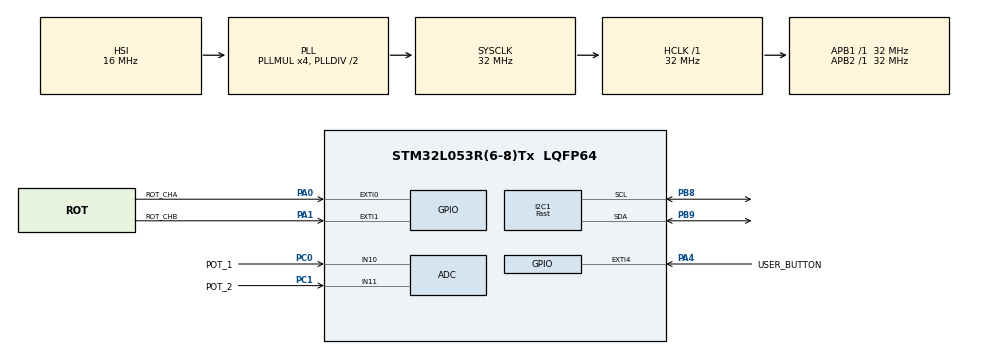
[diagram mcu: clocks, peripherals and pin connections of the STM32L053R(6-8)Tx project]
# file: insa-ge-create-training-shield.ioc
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I2C1.I2C_Speed_Mode=I2C_Fast
I2C1.Timing=0x0060112F
Mcu.Family=STM32L0
Mcu.Name=STM32L053R(6-8)Tx
Mcu.Package=LQFP64
NVIC.EXTI0_1_IRQn=true\:1\:0\:true\:false\:true\:true\:true\:true
NVIC.EXTI4_15_IRQn=true\:2\:0\:true\:false\:true\:true\:true\:true
NVIC.TIM6_DAC_IRQn=true\:3\:0\:true\:false\:true\:true\:true\:true
PA0.GPIO_Label=ROT_CHA
PA0.GPIO_ModeDefaultEXTI=GPIO_MODE_IT_RISING_FALLING
PA0.Signal=GPXTI0
PA1.GPIO_Label=ROT_CHB
PA1.Signal=GPXTI1
PA4.GPIO_Label=USER_BUTTON
PA4.GPIO_ModeDefaultEXTI=GPIO_MODE_IT_RISING_FALLING
PA4.Signal=GPXTI4
PB8.Mode=I2C
PB8.Signal=I2C1_SCL
PB9.Mode=I2C
PB9.Signal=I2C1_SDA
PC0.GPIO_Label=POT_1
PC0.Mode=IN10
PC0.Signal=ADC_IN10
PC1.GPIO_Label=POT_2
PC1.Mode=IN11
PC1.Signal=ADC_IN11
ProjectManager.HeapSize=0x200
ProjectManager.StackSize=0x400
ProjectManager.TargetToolchain=STM32CubeIDE
RCC.AHBFreq_Value=32000000
RCC.APB1Freq_Value=32000000
RCC.APB1TimFreq_Value=32000000
RCC.APB2Freq_Value=32000000
RCC.APB2TimFreq_Value=32000000
RCC.HCLKFreq_Value=32000000
RCC.HSE_VALUE=8000000
RCC.HSI16_VALUE=16000000
RCC.HSI48_VALUE=48000000
RCC.HSI_VALUE=16000000
RCC.LSE_VALUE=32768
RCC.MSI_VALUE=2097000
RCC.PLLMUL=RCC_PLLMUL_4
RCC.SYSCLKFreq_VALUE=32000000
RCC.SYSCLKSource=RCC_SYSCLKSOURCE_PLLCLK
RCC.VCOOutputFreq_Value=64000000
TIM6.Period=999
TIM6.Prescaler=2096
VP_TIM6_VS_ClockSourceINT.Mode=Enable_Timer
board=custom

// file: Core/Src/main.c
/* USER CODE BEGIN Header */
/**
  ******************************************************************************
  * @file           : main.c
  * @brief          : Main program body
  ******************************************************************************
  * @attention
  *
  * Copyright (c) 2024 STMicroelectronics.
  * All rights reserved.
  *
  * This software is licensed under terms that can be found in the LICENSE file
  * in the root directory of this software component.
  * If no LICENSE file comes with this software, it is provided AS-IS.
  *
  ******************************************************************************
  */
/* USER CODE END Header */
#include "main.h"

/* USER CODE BEGIN Includes */
#include <stdio.h>
#include "ssd1306/ssd1306.h"

/* USER CODE END Includes */

ADC_HandleTypeDef hadc;

I2C_HandleTypeDef hi2c1;

TIM_HandleTypeDef htim6;

/* USER CODE BEGIN PV */
static uint8_t rotary_state;
static uint8_t rotary_counter;
static uint8_t button_state;

// Power meter simulation variables
static float simulated_voltage = 0.0f;    // Simulated voltage (V)
static float simulated_current = 0.0f;    // Simulated current (A)
static float simulated_power = 0.0f;      // Calculated power (W)
static float accumulated_energy = 0.0f;   // Accumulated energy (Wh)
static uint32_t last_timestamp = 0;       // For energy integration

// Peak value tracking
static float peak_voltage = 0.0f;
static float peak_current = 0.0f;
static float peak_power = 0.0f;

// Button handling for reset functions
static uint32_t button_press_time = 0;
static uint8_t button_long_press_handled = 0;
static uint32_t button_last_interrupt_time = 0;  // For debouncing
static uint8_t button_stable_state = 0;          // Stable button state after debouncing

// Menu system variables
typedef enum {
    MENU_POWER_METER = 0,    // Main power meter display
    MENU_MAIN,               // Main menu
    MENU_PEAKS,              // Peak values display
    MENU_GRAPHICS,           // Graphics display menu
    MENU_GRAPHICS_SELECT,    // Graphics parameter selection
    MENU_SETTINGS,           // Settings menu
    MENU_RESET,              // Reset menu
    MENU_ABOUT               // About/Info
} MenuState_t;

static MenuState_t current_menu = MENU_POWER_METER;
static uint8_t menu_selection = 0;      // Current menu item selection
static uint8_t menu_changed = 1;        // Flag to trigger display update
static uint32_t last_activity_time = 0; // For auto-return to power meter

// Rotary encoder debouncing variables
static uint32_t rotary_last_interrupt_time = 0;

// Graphics functionality variables
#define GRAPH_DATA_POINTS 64  // Number of data points for graph (64 points across 128 pixel width)
static float voltage_history[GRAPH_DATA_POINTS];
static float current_history[GRAPH_DATA_POINTS];
static float power_history[GRAPH_DATA_POINTS];
static uint8_t graph_data_index = 0;
static uint8_t graphics_parameter = 0;  // 0 = Voltage, 1 = Current, 2 = Power
static uint32_t last_graph_update = 0;

/* USER CODE END PV */

void SystemClock_Config(void);
static void MX_GPIO_Init(void);
static void MX_ADC_Init(void);
static void MX_I2C1_Init(void);
static void MX_TIM6_Init(void);

/* USER CODE BEGIN 0 */

/**
  * @brief  Convert ADC value to simulated voltage
  * @param  adc_value Raw ADC value (0-4095)
  * @retval Simulated voltage in volts (0-30V)
  */
float Convert_ADC_to_Voltage(uint32_t adc_value)
{
    // POT_1 (ADC_CHANNEL_10): 0-4095 → 0-30V
    return (float)adc_value * 30.0f / 4095.0f;
}

/**
  * @brief  Convert ADC value to simulated current
  * @param  adc_value Raw ADC value (0-4095)
  * @retval Simulated current in amperes (0-5A)
  */
float Convert_ADC_to_Current(uint32_t adc_value)
{
    // POT_2 (ADC_CHANNEL_11): 0-4095 → 0-5A
    return (float)adc_value * 5.0f / 4095.0f;
}

/**
  * @brief  Calculate simulated power from voltage and current
  * @param  voltage Simulated voltage in volts
  * @param  current Simulated current in amperes
  * @retval Calculated power in watts
  */
float Calculate_Power(float voltage, float current)
{
    return voltage * current;
}

/**
  * @brief  Update accumulated energy using trapezoidal integration
  * @param  power Current power in watts
  * @param  delta_time Time interval in milliseconds
  */
void Update_Energy(float power, uint32_t delta_time)
{
    // Convert delta_time from ms to hours for Wh calculation
    float delta_hours = (float)delta_time / (1000.0f * 3600.0f);

    // Simple rectangular integration: E += P * dt
    accumulated_energy += power * delta_hours;
}

/**
  * @brief  Update peak values if current values are higher
  * @param  voltage Current voltage value
  * @param  current Current current value
  * @param  power Current power value
  */
void Update_Peaks(float voltage, float current, float power)
{
    if (voltage > peak_voltage) peak_voltage = voltage;
    if (current > peak_current) peak_current = current;
    if (power > peak_power) peak_power = power;
}

/**
  * @brief  Reset all peak values to zero
  */
void Reset_Peaks(void)
{
    peak_voltage = 0.0f;
    peak_current = 0.0f;
    peak_power = 0.0f;
}

/**
  * @brief  Reset accumulated energy to zero
  */
void Reset_Energy(void)
{
    accumulated_energy = 0.0f;
}

/**
  * @brief  Handle rotary encoder input for menu navigation
  * @param  direction: 1 for clockwise, -1 for counter-clockwise
  */
void Handle_Menu_Navigation(int8_t direction)
{
    last_activity_time = HAL_GetTick();
    menu_changed = 1;

    switch (current_menu) {
        case MENU_MAIN:
            // Navigate main menu items
            if (direction > 0) {
                menu_selection = (menu_selection + 1) % 5; // 5 main menu items
            } else {
                menu_selection = (menu_selection == 0) ? 4 : menu_selection - 1;
            }
            break;

        case MENU_GRAPHICS_SELECT:
            // Navigate graphics parameter selection
            if (direction > 0) {
                menu_selection = (menu_selection + 1) % 4; // 4 graphics items (V, A, P, Back)
            } else {
                menu_selection = (menu_selection == 0) ? 3 : menu_selection - 1;
            }
            break;

        case MENU_SETTINGS:
            // Navigate settings menu items
            if (direction > 0) {
                menu_selection = (menu_selection + 1) % 2; // 2 settings items
            } else {
                menu_selection = (menu_selection == 0) ? 1 : menu_selection - 1;
            }
            break;

        case MENU_RESET:
            // Navigate reset menu items
            if (direction > 0) {
                menu_selection = (menu_selection + 1) % 3; // 3 reset items
            } else {
                menu_selection = (menu_selection == 0) ? 2 : menu_selection - 1;
            }
            break;

        default:
            // Other menus don't have navigation
            break;
    }
}

/**
  * @brief  Handle button press for menu actions
  * @param  press_type: 0 = short press, 1 = long press
  */
void Handle_Menu_Action(uint8_t press_type)
{
    last_activity_time = HAL_GetTick();
    menu_changed = 1;

    if (press_type == 1) { // Long press - always go back/up
        switch (current_menu) {
            case MENU_POWER_METER:
                current_menu = MENU_MAIN;
                menu_selection = 0;
                break;

            default:
                current_menu = MENU_POWER_METER;
                menu_selection = 0;
                break;
        }
    } else { // Short press - enter/confirm
        switch (current_menu) {
            case MENU_POWER_METER:
                // No action on short press in power meter mode
                break;

            case MENU_MAIN:
                switch (menu_selection) {
                    case 0: current_menu = MENU_POWER_METER; break;  // Back to Power Meter
                    case 1: current_menu = MENU_PEAKS; break;        // Peak Values
                    case 2: current_menu = MENU_GRAPHICS_SELECT; menu_selection = 0; break; // Graphics
                    case 3: current_menu = MENU_SETTINGS; menu_selection = 0; break; // Settings
                    case 4: current_menu = MENU_RESET; menu_selection = 0; break;    // Reset
                }
                break;

            case MENU_PEAKS:
                current_menu = MENU_MAIN;
                menu_selection = 1;
                break;

            case MENU_GRAPHICS_SELECT:
                switch (menu_selection) {
                    case 0: // Voltage graph
                        graphics_parameter = 0;
                        current_menu = MENU_GRAPHICS;
                        break;
                    case 1: // Current graph
                        graphics_parameter = 1;
                        current_menu = MENU_GRAPHICS;
                        break;
                    case 2: // Power graph
                        graphics_parameter = 2;
                        current_menu = MENU_GRAPHICS;
                        break;
                    case 3: // Back
                        current_menu = MENU_MAIN;
                        menu_selection = 2;
                        break;
                }
                break;

            case MENU_GRAPHICS:
                current_menu = MENU_GRAPHICS_SELECT;
                menu_selection = graphics_parameter;
                break;

            case MENU_SETTINGS:
                switch (menu_selection) {
                    case 0: current_menu = MENU_ABOUT; break;      // About
                    case 1: current_menu = MENU_MAIN; menu_selection = 2; break; // Back
                }
                break;

            case MENU_RESET:
                switch (menu_selection) {
                    case 0: Reset_Peaks(); current_menu = MENU_MAIN; menu_selection = 3; break;   // Reset Peaks
                    case 1: Reset_Energy(); current_menu = MENU_MAIN; menu_selection = 3; break;  // Reset Energy
                    case 2: current_menu = MENU_MAIN; menu_selection = 3; break;                  // Cancel
                }
                break;

            case MENU_ABOUT:
                current_menu = MENU_SETTINGS;
                menu_selection = 0;
                break;
        }
    }
}

/**
  * @brief  Display current menu on OLED
  */
void Display_Current_Menu(void)
{
    char line1[21] = {0};
    char line2[21] = {0};
    char line3[21] = {0};

    // Clear screen
    ssd1306_Fill(Black);

    switch (current_menu) {
        case MENU_POWER_METER:
            Display_Power_Meter();
            return; // Power meter has its own display logic

        case MENU_MAIN:
            {
                // Main menu items (total 5 items: 0-4)
                const char* menu_items[5] = {
                    " Power Meter",
                    " Peak Values",
                    " Graphics",
                    " Settings",
                    " Reset Options"
                };

                ssd1306_SetCursor(0, 0);
                ssd1306_WriteString("=== MAIN MENU ===", Font_6x8, White);

                // Calculate scroll window (show 3 items at a time)
                uint8_t start_item = 0;
                if (menu_selection >= 2) {
                    start_item = menu_selection - 1;  // Keep selected item in middle when possible
                    if (start_item > 2) start_item = 2;  // Don't scroll beyond last window (5-3=2)
                }

                // Display 3 visible items
                for (uint8_t i = 0; i < 3 && (start_item + i) < 5; i++) {
                    uint8_t item_index = start_item + i;
                    char display_line[21];

                    // Add selection marker
                    sprintf(display_line, "%s%s",
                           (item_index == menu_selection) ? ">" : " ",
                           menu_items[item_index]);

                    ssd1306_SetCursor(0, 8 + (i * 8));  // Y positions: 8, 16, 24
                    ssd1306_WriteString(display_line, Font_6x8, White);
                }

                // Optional: Add scroll indicators
                if (start_item > 0) {
                    // Show "up arrow" indicator at top-right
                    ssd1306_SetCursor(120, 8);
                    ssd1306_WriteString("^", Font_6x8, White);
                }
                if (start_item + 3 < 5) {
                    // Show "down arrow" indicator at bottom-right
                    ssd1306_SetCursor(120, 24);
                    ssd1306_WriteString("v", Font_6x8, White);
                }
            }
            break;

        case MENU_PEAKS:
            ssd1306_SetCursor(0, 0);
            ssd1306_WriteString("=== PEAK VALUES ===", Font_6x8, White);

            // Display peak values using integer formatting
            int pv_int = (int)peak_voltage;
            int pv_frac = (int)((peak_voltage - pv_int) * 10.0f);
            int pi_int = (int)peak_current;
            int pi_frac = (int)((peak_current - pi_int) * 100.0f);
            int pp_int = (int)peak_power;
            int pp_frac = (int)((peak_power - pp_int) * 10.0f);

            sprintf(line1, "V: %d.%dV", pv_int, pv_frac);
            sprintf(line2, "I: %d.%02dA", pi_int, pi_frac);
            sprintf(line3, "P: %d.%dW", pp_int, pp_frac);

            ssd1306_SetCursor(0, 10);
            ssd1306_WriteString(line1, Font_7x10, White);
            ssd1306_SetCursor(0, 20);
            ssd1306_WriteString(line2, Font_7x10, White);
            ssd1306_SetCursor(70, 20);
            ssd1306_WriteString(line3, Font_7x10, White);
            break;

        case MENU_SETTINGS:
            ssd1306_SetCursor(0, 0);
            ssd1306_WriteString("=== SETTINGS ===", Font_6x8, White);

            sprintf(line1, "%s About", (menu_selection == 0) ? ">" : " ");
            sprintf(line2, "%s Back", (menu_selection == 1) ? ">" : " ");

            ssd1306_SetCursor(0, 12);
            ssd1306_WriteString(line1, Font_7x10, White);
            ssd1306_SetCursor(0, 22);
            ssd1306_WriteString(line2, Font_7x10, White);
            break;

        case MENU_RESET:
            ssd1306_SetCursor(0, 0);
            ssd1306_WriteString("=== RESET ===", Font_6x8, White);

            sprintf(line1, "%s Reset Peaks", (menu_selection == 0) ? ">" : " ");
            sprintf(line2, "%s Reset Energy", (menu_selection == 1) ? ">" : " ");
            sprintf(line3, "%s Cancel", (menu_selection == 2) ? ">" : " ");

            ssd1306_SetCursor(0, 8);
            ssd1306_WriteString(line1, Font_6x8, White);
            ssd1306_SetCursor(0, 16);
            ssd1306_WriteString(line2, Font_6x8, White);
            ssd1306_SetCursor(0, 24);
            ssd1306_WriteString(line3, Font_6x8, White);
            break;

        case MENU_GRAPHICS_SELECT:
            {
                // Graphics menu items (total 4 items: 0-3)
                const char* graphics_items[4] = {
                    " Voltage (V)",
                    " Current (A)",
                    " Power (W)",
                    " Back"
                };

                ssd1306_SetCursor(0, 0);
                ssd1306_WriteString("=== GRAPHICS ===", Font_6x8, White);

                // Calculate scroll window (show 3 items at a time)
                uint8_t start_item = 0;
                if (menu_selection >= 2) {
                    start_item = menu_selection - 1;  // Keep selected item in middle when possible
                    if (start_item > 1) start_item = 1;  // Don't scroll beyond last window (4-3=1)
                }

                // Display 3 visible items
                for (uint8_t i = 0; i < 3 && (start_item + i) < 4; i++) {
                    uint8_t item_index = start_item + i;
                    char display_line[21];

                    // Add selection marker
                    sprintf(display_line, "%s%s",
                           (item_index == menu_selection) ? ">" : " ",
                           graphics_items[item_index]);

                    ssd1306_SetCursor(0, 8 + (i * 8));  // Y positions: 8, 16, 24
                    ssd1306_WriteString(display_line, Font_6x8, White);
                }

                // Optional: Add scroll indicators
                if (start_item > 0) {
                    // Show "up arrow" indicator at top-right
                    ssd1306_SetCursor(120, 8);
                    ssd1306_WriteString("^", Font_6x8, White);
                }
                if (start_item + 3 < 4) {
                    // Show "down arrow" indicator at bottom-right
                    ssd1306_SetCursor(120, 24);
                    ssd1306_WriteString("v", Font_6x8, White);
                }
            }
            break;

        case MENU_GRAPHICS:
            Display_Graphics();
            return; // Graphics has its own display logic

        case MENU_ABOUT:
            ssd1306_SetCursor(0, 0);
            ssd1306_WriteString("Power Meter v1.0", Font_7x10, White);
            ssd1306_SetCursor(0, 12);
            ssd1306_WriteString("STM32L053R8", Font_6x8, White);
            ssd1306_SetCursor(0, 20);
            ssd1306_WriteString("Test Development", Font_6x8, White);
            ssd1306_SetCursor(0, 28);
            ssd1306_WriteString("Board - INSA-GE", Font_6x8, White);
            break;
    }

    ssd1306_UpdateScreen();
}

/**
  * @brief  Update graphics data buffer with current values
  */
void Update_Graphics_Data(void)
{
    uint32_t current_time = HAL_GetTick();

    // Update data every 200ms for smooth animation
    if (current_time - last_graph_update > 200) {
        voltage_history[graph_data_index] = simulated_voltage;
        current_history[graph_data_index] = simulated_current;
        power_history[graph_data_index] = simulated_power;

        graph_data_index = (graph_data_index + 1) % GRAPH_DATA_POINTS;
        last_graph_update = current_time;
    }
}

/**
  * @brief  Display graphics curve
  */
void Display_Graphics(void)
{
    char title_str[21] = {0};
    float max_value = 0.0f;
    float min_value = 0.0f;
    float* data_array;

    // Clear screen
    ssd1306_Fill(Black);

    // Select data source and find min/max for scaling
    if (graphics_parameter == 0) {
        // Voltage - use integer formatting
        int v_int = (int)simulated_voltage;
        int v_frac = (int)((simulated_voltage - v_int) * 10.0f);
        sprintf(title_str, "Voltage: %d.%dV", v_int, v_frac);
        data_array = voltage_history;
        max_value = 30.0f;  // Max voltage range
        min_value = 0.0f;
    } else if (graphics_parameter == 1) {
        // Current - use integer formatting
        int i_int = (int)simulated_current;
        int i_frac = (int)((simulated_current - i_int) * 100.0f);
        sprintf(title_str, "Current: %d.%02dA", i_int, i_frac);
        data_array = current_history;
        max_value = 5.0f;   // Max current range
        min_value = 0.0f;
    } else {
        // Power - use integer formatting
        int p_int = (int)simulated_power;
        int p_frac = (int)((simulated_power - p_int) * 10.0f);
        sprintf(title_str, "Power: %d.%dW", p_int, p_frac);
        data_array = power_history;
        max_value = 150.0f;  // Max power range (30V * 5A = 150W)
        min_value = 0.0f;
    }

    // Display title
    ssd1306_SetCursor(0, 0);
    ssd1306_WriteString(title_str, Font_6x8, White);

    // Draw graph area (leaving space for title and axis labels)
    uint8_t graph_height = 20;  // Graph height in pixels
    uint8_t graph_y_offset = 10; // Start Y position for graph

    // Draw axes
    // Y-axis
    for (uint8_t y = 0; y < graph_height; y++) {
        ssd1306_DrawPixel(10, graph_y_offset + y, White);
    }
    // X-axis
    for (uint8_t x = 0; x < 110; x++) {
        ssd1306_DrawPixel(10 + x, graph_y_offset + graph_height - 1, White);
    }

    // Plot data points
    for (uint8_t i = 0; i < GRAPH_DATA_POINTS - 1; i++) {
        uint8_t data_index = (graph_data_index + i) % GRAPH_DATA_POINTS;
        uint8_t next_index = (graph_data_index + i + 1) % GRAPH_DATA_POINTS;

        // Scale values to fit graph
        uint8_t y1 = graph_y_offset + graph_height - 1 -
                     (uint8_t)((data_array[data_index] / max_value) * (graph_height - 2));
        uint8_t y2 = graph_y_offset + graph_height - 1 -
                     (uint8_t)((data_array[next_index] / max_value) * (graph_height - 2));

        uint8_t x1 = 11 + (i * 110) / (GRAPH_DATA_POINTS - 1);
        uint8_t x2 = 11 + ((i + 1) * 110) / (GRAPH_DATA_POINTS - 1);

        // Draw line between points
        ssd1306_Line(x1, y1, x2, y2, White);
    }

    // Add scale labels
    ssd1306_SetCursor(0, graph_y_offset);
    if (graphics_parameter == 0) {
        ssd1306_WriteString("30", Font_6x8, White);  // Voltage
    } else if (graphics_parameter == 1) {
        ssd1306_WriteString("5", Font_6x8, White);   // Current
    } else {
        ssd1306_WriteString("150", Font_6x8, White); // Power
    }

    ssd1306_SetCursor(0, graph_y_offset + graph_height - 8);
    ssd1306_WriteString("0", Font_6x8, White);

    ssd1306_UpdateScreen();
}

/**
  * @brief  Display power meter data (separated from menu system)
  */
void Display_Power_Meter(void)
{
    char line1_str[21] = {0};
    char line2_str[21] = {0};
    char line3_str[21] = {0};

    // Convert float to integer parts for display (avoiding %f)
    // Voltage: XX.X format (1 decimal place)
    int v_int = (int)simulated_voltage;
    int v_frac = (int)((simulated_voltage - v_int) * 10.0f);
    if (v_frac < 0) v_frac = -v_frac;

    // Current: X.XX format (2 decimal places)
    int i_int = (int)simulated_current;
    int i_frac = (int)((simulated_current - i_int) * 100.0f);
    if (i_frac < 0) i_frac = -i_frac;

    // Power: XXX.X format (1 decimal place)
    int p_int = (int)simulated_power;
    int p_frac = (int)((simulated_power - p_int) * 10.0f);
    if (p_frac < 0) p_frac = -p_frac;

    // Energy handling
    if (accumulated_energy < 1.0f) {
        // Display in Wh for small values (integer Wh)
        int e_wh = (int)(accumulated_energy * 1000.0f);
        sprintf(line1_str, "V:%d.%dV  I:%d.%02dA", v_int, v_frac, i_int, i_frac);
        sprintf(line2_str, "P:%d.%dW E:%dWh", p_int, p_frac, e_wh);
    } else {
        // Display in kWh for larger values (X.XXX format)
        int e_int = (int)accumulated_energy;
        int e_frac = (int)((accumulated_energy - e_int) * 1000.0f);
        if (e_frac < 0) e_frac = -e_frac;
        sprintf(line1_str, "V:%d.%dV  I:%d.%02dA", v_int, v_frac, i_int, i_frac);
        sprintf(line2_str, "P:%d.%dW E:%d.%03dkWh", p_int, p_frac, e_int, e_frac);
    }

    sprintf(line3_str, "ROT:%03u BTN:%s", rotary_counter, button_state ? "ON " : "OFF");

    // Clear screen and display power meter data
    ssd1306_Fill(Black);
    ssd1306_SetCursor(0, 0);
    ssd1306_WriteString(line1_str, Font_7x10, White);
    ssd1306_SetCursor(0, 11);
    ssd1306_WriteString(line2_str, Font_7x10, White);
    ssd1306_SetCursor(0, 22);
    ssd1306_WriteString(line3_str, Font_6x8, White);
    ssd1306_UpdateScreen();
}

/**
  * @brief  Interrupt handler for TIM6 timer
  * @note	This function is called when the timer is reloaded
  *         It reads ADC values from potentiometer inputs and update screen infos
  */
void Timer_Interrupt_Handler(void)
{
	// Read ADC values from potentiometers (always needed for power calculations)
	uint32_t pot1_value = Get_ADC_Value(ADC_CHANNEL_10);  // Voltage potentiometer
	uint32_t pot2_value = Get_ADC_Value(ADC_CHANNEL_11);  // Current potentiometer

	// Convert ADC values to simulated physical quantities
	simulated_voltage = Convert_ADC_to_Voltage(pot1_value);
	simulated_current = Convert_ADC_to_Current(pot2_value);
	simulated_power = Calculate_Power(simulated_voltage, simulated_current);

	// Calculate time delta for energy integration
	uint32_t current_timestamp = HAL_GetTick();
	uint32_t delta_time = current_timestamp - last_timestamp;
	last_timestamp = current_timestamp;

	// Update accumulated energy (only if not first call)
	if (delta_time > 0 && delta_time < 1000) {  // Sanity check: delta should be ~100ms
		Update_Energy(simulated_power, delta_time);
	}

	// Update peak values
	Update_Peaks(simulated_voltage, simulated_current, simulated_power);

	// Update graphics data buffer
	Update_Graphics_Data();

	// Check for button long press (moved from interrupt to timer for stability)
	if (button_state && !button_long_press_handled) {
		uint32_t press_duration = current_timestamp - button_press_time;
		if (press_duration >= 2000) {
			// Long press detected
			Handle_Menu_Action(1); // Long press
			button_long_press_handled = 1;
		}
	}

	// Check for auto-return to power meter (30 seconds timeout)
	if (current_menu != MENU_POWER_METER &&
	    (current_timestamp - last_activity_time) > 30000) {
		current_menu = MENU_POWER_METER;
		menu_selection = 0;
		menu_changed = 1;
	}

	// Update display for all menu states to prevent screen freeze during transitions
	if (menu_changed) {
		Display_Current_Menu();
		menu_changed = 0;
	}
	// Always update power meter and graphics display for real-time data
	else if (current_menu == MENU_POWER_METER || current_menu == MENU_GRAPHICS) {
		Display_Current_Menu();
	}
}

/**
  * @brief  Interrupt handler for User Button GPIO
  * @note	This function handles button press/release with enhanced debouncing
  *         - Short press: Enter/confirm menu action
  *         - Long press (>2s): Back/exit menu action
  */
void User_Button_Interrupt_Handler(void)
{
	uint32_t current_time = HAL_GetTick();
	uint8_t raw_button_state = HAL_GPIO_ReadPin(USER_BUTTON_GPIO_Port, USER_BUTTON_Pin);

	// Software debouncing: ignore interrupts within 20ms of last interrupt
	if ((current_time - button_last_interrupt_time) < 20) {
		return;
	}
	button_last_interrupt_time = current_time;

	// Only process if state actually changed from stable state
	if (raw_button_state == button_stable_state) {
		return;
	}

	// State has changed and is stable
	button_stable_state = raw_button_state;

	if (button_stable_state && !button_state) {
		// Button pressed (rising edge after debouncing)
		button_press_time = current_time;
		button_long_press_handled = 0;
		button_state = 1;
	}
	else if (!button_stable_state && button_state) {
		// Button released (falling edge after debouncing)
		uint32_t press_duration = current_time - button_press_time;

		if (!button_long_press_handled && press_duration < 2000) {
			// Short press only if long press wasn't already handled
			Handle_Menu_Action(0); // Short press
		}
		button_state = 0;
	}
}

/**
  * @brief  Interrupt handler for Rotary Encoder Channel A
  * @note	This function is called when edges are detected on rotary encoder channels
  *         Uses software debouncing instead of HAL_Delay for better stability
  */
void Rotary_Encoder_Interrupt_Handler(void)
{
	static int8_t rotary_buffer = 0;
	uint32_t current_time = HAL_GetTick();

	// Software debouncing: ignore interrupts within 5ms of last interrupt
	if ((current_time - rotary_last_interrupt_time) < 5) {
		return;
	}
	rotary_last_interrupt_time = current_time;

	// Read encoder state
	uint8_t rotary_new = HAL_GPIO_ReadPin(ROT_CHA_GPIO_Port, ROT_CHA_Pin) << 1;
	rotary_new += HAL_GPIO_ReadPin(ROT_CHB_GPIO_Port, ROT_CHB_Pin);

	if (rotary_new != rotary_state) {
		int8_t direction = 0;

		// Clockwise state transitions
		if (((rotary_state == 0b00) && (rotary_new == 0b10)) ||
		    ((rotary_state == 0b10) && (rotary_new == 0b11)) ||
		    ((rotary_state == 0b11) && (rotary_new == 0b01)) ||
		    ((rotary_state == 0b01) && (rotary_new == 0b00))) {
			rotary_buffer++;
		}

		// Counter-clockwise state transitions
		if (((rotary_state == 0b00) && (rotary_new == 0b01)) ||
		    ((rotary_state == 0b01) && (rotary_new == 0b11)) ||
		    ((rotary_state == 0b11) && (rotary_new == 0b10)) ||
		    ((rotary_state == 0b10) && (rotary_new == 0b00))) {
			rotary_buffer--;
		}

		rotary_state = rotary_new;

		// Check if we have enough transitions for a full detent
		if (rotary_buffer > 3) {
			rotary_counter++;
			rotary_buffer = 0;
			direction = 1;  // Clockwise
		}
		if (rotary_buffer < -3) {
			rotary_counter--;
			rotary_buffer = 0;
			direction = -1; // Counter-clockwise
		}

		// Handle menu navigation if we detected a direction change
		if (direction != 0) {
			Handle_Menu_Navigation(direction);
		}
	}
}

/**
  * @brief  Start a conversion and return the value converted.
  * @note   This function waits for the end of conversion in a blocking way
  * @param  hadc ADC handle
  * @param  adc_channel Channel macro such as ADC_CHANNEL_0, ADC_CHANNEL_1, etc.
  * @retval Channel converted value
  */
uint32_t Get_ADC_Value(uint32_t adc_channel)
{
	/* Disable all previous channel configuration */
	hadc.Instance->CHSELR = 0;
	ADC_ChannelConfTypeDef sConfig = {0};
	sConfig.Channel = adc_channel;
	sConfig.Rank = ADC_RANK_CHANNEL_NUMBER;
	if (HAL_ADC_ConfigChannel(&hadc, &sConfig) != HAL_OK)
	{
		Error_Handler();
	}
	if (HAL_ADC_Start(&hadc) != HAL_OK)
	{
		Error_Handler();
	}
	if (HAL_ADC_PollForConversion(&hadc, 100) != HAL_OK)
	{
		Error_Handler();
	}
	return HAL_ADC_GetValue(&hadc);
}
/* USER CODE END 0 */

int main(void)
{

  /* MCU Configuration--------------------------------------------------------*/

  /* Reset of all peripherals, Initializes the Flash interface and the Systick. */
  HAL_Init();

  /* Configure the system clock */
  SystemClock_Config();

  /* Initialize all configured peripherals */
  MX_GPIO_Init();
  MX_ADC_Init();
  MX_I2C1_Init();
  MX_TIM6_Init();
  /* USER CODE BEGIN 2 */
  // Initialize OLED display
  ssd1306_Init();
  ssd1306_Fill(Black);
  ssd1306_SetCursor(0, 0);
  ssd1306_WriteString("Power Meter v1.0", Font_7x10, White);
  ssd1306_SetCursor(0, 11);
  ssd1306_WriteString("Initializing...", Font_7x10, White);
  ssd1306_UpdateScreen();

  // Initialize power meter variables
  last_timestamp = HAL_GetTick();
  last_activity_time = HAL_GetTick();
  Reset_Energy();
  Reset_Peaks();

  // Initialize menu system
  current_menu = MENU_POWER_METER;
  menu_selection = 0;
  menu_changed = 1;

  // Start timer for periodic measurements
  HAL_TIM_Base_Start_IT(&htim6);

  // Brief startup delay
  HAL_Delay(1000);

  /* USER CODE END 2 */

  /* Infinite loop */
  /* USER CODE BEGIN WHILE */
  rotary_state = HAL_GPIO_ReadPin(ROT_CHA_GPIO_Port, ROT_CHA_Pin) << 1;
  rotary_state += HAL_GPIO_ReadPin(ROT_CHB_GPIO_Port, ROT_CHB_Pin);
  while (1)
  {
    /* USER CODE END WHILE */

  }
}

void SystemClock_Config(void)
{
  RCC_OscInitTypeDef RCC_OscInitStruct = {0};
  RCC_ClkInitTypeDef RCC_ClkInitStruct = {0};
  RCC_PeriphCLKInitTypeDef PeriphClkInit = {0};

  /** Configure the main internal regulator output voltage
  */
  __HAL_PWR_VOLTAGESCALING_CONFIG(PWR_REGULATOR_VOLTAGE_SCALE1);

  /** Initializes the RCC Oscillators according to the specified parameters
  * in the RCC_OscInitTypeDef structure.
  */
  RCC_OscInitStruct.OscillatorType = RCC_OSCILLATORTYPE_HSI;
  RCC_OscInitStruct.HSIState = RCC_HSI_ON;
  RCC_OscInitStruct.HSICalibrationValue = RCC_HSICALIBRATION_DEFAULT;
  RCC_OscInitStruct.PLL.PLLState = RCC_PLL_ON;
  RCC_OscInitStruct.PLL.PLLSource = RCC_PLLSOURCE_HSI;
  RCC_OscInitStruct.PLL.PLLMUL = RCC_PLLMUL_4;
  RCC_OscInitStruct.PLL.PLLDIV = RCC_PLLDIV_2;
  if (HAL_RCC_OscConfig(&RCC_OscInitStruct) != HAL_OK)
  {
    Error_Handler();
  }

  /** Initializes the CPU, AHB and APB buses clocks
  */
  RCC_ClkInitStruct.ClockType = RCC_CLOCKTYPE_HCLK|RCC_CLOCKTYPE_SYSCLK
                              |RCC_CLOCKTYPE_PCLK1|RCC_CLOCKTYPE_PCLK2;
  RCC_ClkInitStruct.SYSCLKSource = RCC_SYSCLKSOURCE_PLLCLK;
  RCC_ClkInitStruct.AHBCLKDivider = RCC_SYSCLK_DIV1;
  RCC_ClkInitStruct.APB1CLKDivider = RCC_HCLK_DIV1;
  RCC_ClkInitStruct.APB2CLKDivider = RCC_HCLK_DIV1;

  if (HAL_RCC_ClockConfig(&RCC_ClkInitStruct, FLASH_LATENCY_1) != HAL_OK)
  {
    Error_Handler();
  }
  PeriphClkInit.PeriphClockSelection = RCC_PERIPHCLK_I2C1;
  PeriphClkInit.I2c1ClockSelection = RCC_I2C1CLKSOURCE_PCLK1;
  if (HAL_RCCEx_PeriphCLKConfig(&PeriphClkInit) != HAL_OK)
  {
    Error_Handler();
  }
}

static void MX_ADC_Init(void)
{

  ADC_ChannelConfTypeDef sConfig = {0};

  /** Configure the global features of the ADC (Clock, Resolution, Data Alignment and number of conversion)
  */
  hadc.Instance = ADC1;
  hadc.Init.OversamplingMode = DISABLE;
  hadc.Init.ClockPrescaler = ADC_CLOCK_SYNC_PCLK_DIV2;
  hadc.Init.Resolution = ADC_RESOLUTION_12B;
  hadc.Init.SamplingTime = ADC_SAMPLETIME_1CYCLE_5;
  hadc.Init.ScanConvMode = ADC_SCAN_DIRECTION_FORWARD;
  hadc.Init.DataAlign = ADC_DATAALIGN_RIGHT;
  hadc.Init.ContinuousConvMode = DISABLE;
  hadc.Init.DiscontinuousConvMode = DISABLE;
  hadc.Init.ExternalTrigConvEdge = ADC_EXTERNALTRIGCONVEDGE_NONE;
  hadc.Init.ExternalTrigConv = ADC_SOFTWARE_START;
  hadc.Init.DMAContinuousRequests = DISABLE;
  hadc.Init.EOCSelection = ADC_EOC_SINGLE_CONV;
  hadc.Init.Overrun = ADC_OVR_DATA_PRESERVED;
  hadc.Init.LowPowerAutoWait = DISABLE;
  hadc.Init.LowPowerFrequencyMode = DISABLE;
  hadc.Init.LowPowerAutoPowerOff = DISABLE;
  if (HAL_ADC_Init(&hadc) != HAL_OK)
  {
    Error_Handler();
  }

  /** Configure for the selected ADC regular channel to be converted.
  */
  sConfig.Channel = ADC_CHANNEL_10;
  sConfig.Rank = ADC_RANK_CHANNEL_NUMBER;
  if (HAL_ADC_ConfigChannel(&hadc, &sConfig) != HAL_OK)
  {
    Error_Handler();
  }

  /** Configure for the selected ADC regular channel to be converted.
  */
  sConfig.Channel = ADC_CHANNEL_11;
  if (HAL_ADC_ConfigChannel(&hadc, &sConfig) != HAL_OK)
  {
    Error_Handler();
  }

}

static void MX_I2C1_Init(void)
{

  hi2c1.Instance = I2C1;
  hi2c1.Init.Timing = 0x0060112F;
  hi2c1.Init.OwnAddress1 = 0;
  hi2c1.Init.AddressingMode = I2C_ADDRESSINGMODE_7BIT;
  hi2c1.Init.DualAddressMode = I2C_DUALADDRESS_DISABLE;
  hi2c1.Init.OwnAddress2 = 0;
  hi2c1.Init.OwnAddress2Masks = I2C_OA2_NOMASK;
  hi2c1.Init.GeneralCallMode = I2C_GENERALCALL_DISABLE;
  hi2c1.Init.NoStretchMode = I2C_NOSTRETCH_DISABLE;
  if (HAL_I2C_Init(&hi2c1) != HAL_OK)
  {
    Error_Handler();
  }

  /** Configure Analogue filter
  */
  if (HAL_I2CEx_ConfigAnalogFilter(&hi2c1, I2C_ANALOGFILTER_ENABLE) != HAL_OK)
  {
    Error_Handler();
  }

  /** Configure Digital filter
  */
  if (HAL_I2CEx_ConfigDigitalFilter(&hi2c1, 0) != HAL_OK)
  {
    Error_Handler();
  }

}

static void MX_TIM6_Init(void)
{

  TIM_MasterConfigTypeDef sMasterConfig = {0};

  htim6.Instance = TIM6;
  htim6.Init.Prescaler = 2096;
  htim6.Init.CounterMode = TIM_COUNTERMODE_UP;
  htim6.Init.Period = 999;
  htim6.Init.AutoReloadPreload = TIM_AUTORELOAD_PRELOAD_DISABLE;
  if (HAL_TIM_Base_Init(&htim6) != HAL_OK)
  {
    Error_Handler();
  }
  sMasterConfig.MasterOutputTrigger = TIM_TRGO_RESET;
  sMasterConfig.MasterSlaveMode = TIM_MASTERSLAVEMODE_DISABLE;
  if (HAL_TIMEx_MasterConfigSynchronization(&htim6, &sMasterConfig) != HAL_OK)
  {
    Error_Handler();
  }

}

static void MX_GPIO_Init(void)
{
  GPIO_InitTypeDef GPIO_InitStruct = {0};

  /* GPIO Ports Clock Enable */
  __HAL_RCC_GPIOC_CLK_ENABLE();
  __HAL_RCC_GPIOA_CLK_ENABLE();
  __HAL_RCC_GPIOB_CLK_ENABLE();

  /*Configure GPIO pin : USER_BUTTON_Pin */
  GPIO_InitStruct.Pin = USER_BUTTON_Pin;
  GPIO_InitStruct.Mode = GPIO_MODE_IT_RISING_FALLING;
  GPIO_InitStruct.Pull = GPIO_PULLUP;  // Internal pull-up for button stability
  HAL_GPIO_Init(USER_BUTTON_GPIO_Port, &GPIO_InitStruct);

  /*Configure GPIO pin : ROT_CHA_Pin */
  GPIO_InitStruct.Pin = ROT_CHA_Pin;
  GPIO_InitStruct.Mode = GPIO_MODE_IT_RISING_FALLING;
  GPIO_InitStruct.Pull = GPIO_NOPULL;
  HAL_GPIO_Init(ROT_CHA_GPIO_Port, &GPIO_InitStruct);

  /*Configure GPIO pin : ROT_CHB_Pin */
  GPIO_InitStruct.Pin = ROT_CHB_Pin;
  GPIO_InitStruct.Mode = GPIO_MODE_IT_RISING;
  GPIO_InitStruct.Pull = GPIO_NOPULL;
  HAL_GPIO_Init(ROT_CHB_GPIO_Port, &GPIO_InitStruct);

  /* EXTI interrupt init*/
  HAL_NVIC_SetPriority(EXTI0_1_IRQn, 1, 0);
  HAL_NVIC_EnableIRQ(EXTI0_1_IRQn);

  HAL_NVIC_SetPriority(EXTI4_15_IRQn, 2, 0);
  HAL_NVIC_EnableIRQ(EXTI4_15_IRQn);

}

void Error_Handler(void)
{
  __disable_irq();
  while (1)
  {
  }
}
